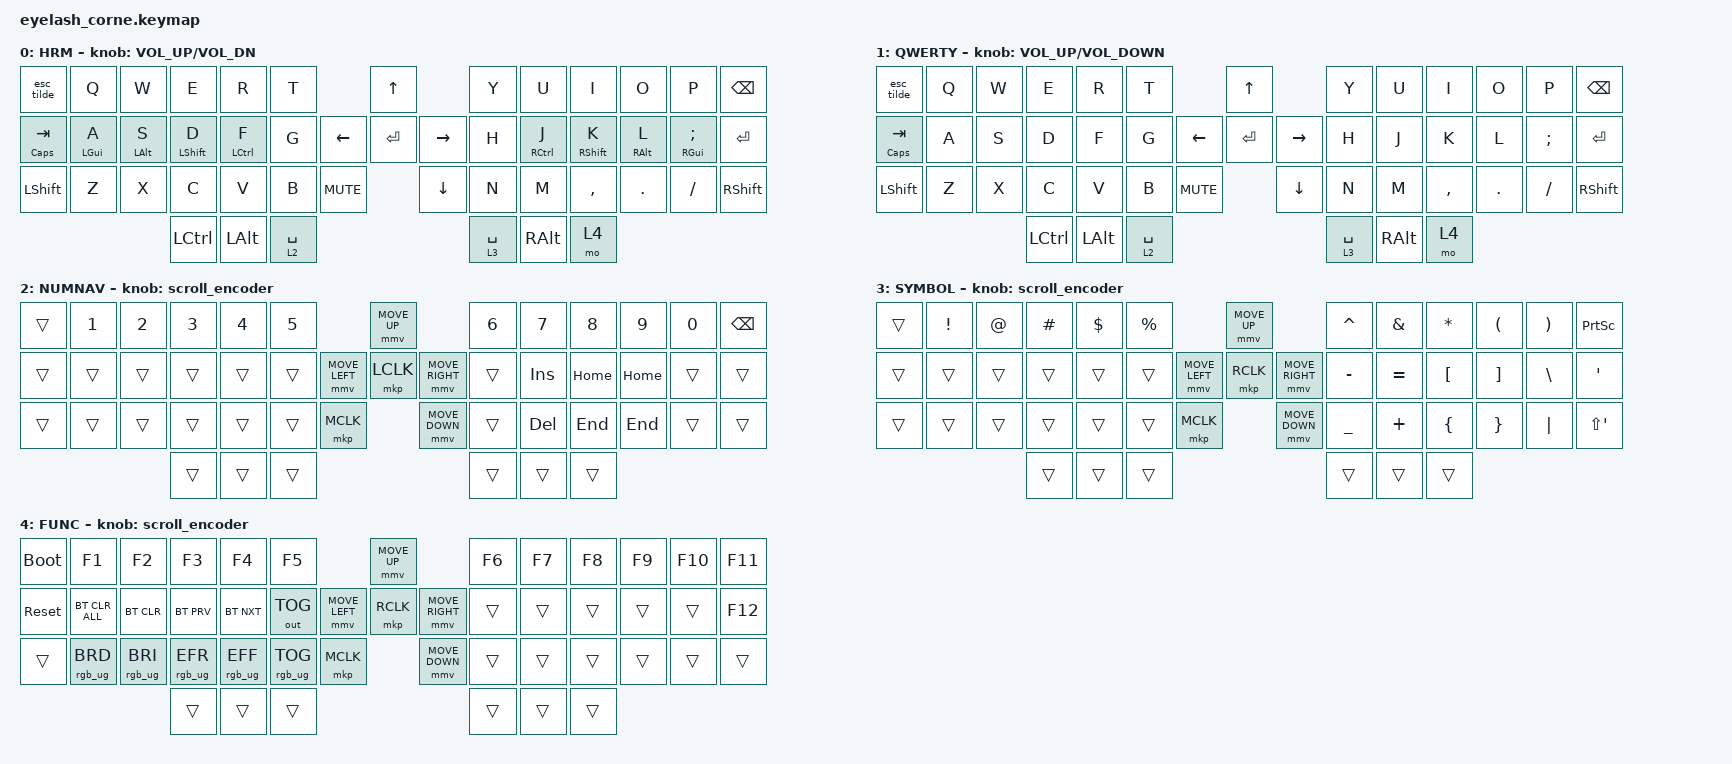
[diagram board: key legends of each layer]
#define ZMK_POINTING_DEFAULT_MOVE_VAL 1200  // 600
#define ZMK_POINTING_DEFAULT_SCRL_VAL 25   // 10

#include "eyelash42.h"
#include <input/processors.dtsi>
#include <zephyr/dt-bindings/input/input-event-codes.h>
#include <behaviors.dtsi>
#include <dt-bindings/zmk/bt.h>
#include <dt-bindings/zmk/keys.h>
#include <dt-bindings/zmk/outputs.h>
#include <dt-bindings/zmk/pointing.h>
#include <dt-bindings/zmk/rgb.h>

&mmv_input_listener { input-processors = <&zip_xy_scaler 2 1>; };

&msc_input_listener { input-processors = <&zip_scroll_scaler 2 1>; };

&msc {
    acceleration-exponent = <1>;      // 0
    time-to-max-speed-ms = <100>;       // 300
    delay-ms = <0>;                   // 0
};

&mmv {
    time-to-max-speed-ms = <500>;
    acceleration-exponent = <1>;
    trigger-period-ms = <16>;
};

&soft_off { hold-time-ms = <2000>; };

/ {
    behaviors {
        td0: td0 {
            compatible = "zmk,behavior-tap-dance";
            display-name = "Shift/Caps Lock Tap Dance";
            #binding-cells = <0>;
            bindings = <&kp LEFT_SHIFT>, <&kp CAPS>;
        };

        hml: hml {
            compatible = "zmk,behavior-hold-tap";
            #binding-cells = <2>;
            flavor = "balanced";
            require-prior-idle-ms = <150>;
            tapping-term-ms = <280>;
            quick-tap-ms = <175>;
            bindings = <&kp>, <&kp>;

            hold-trigger-key-positions = <KEYS_R THUMBS>;
            hold-trigger-on-release;
        };

        hmr: hmr {
            compatible = "zmk,behavior-hold-tap";
            #binding-cells = <2>;
            flavor = "balanced";
            require-prior-idle-ms = <150>;
            tapping-term-ms = <280>;
            quick-tap-ms = <175>;
            bindings = <&kp>, <&kp>;

            hold-trigger-key-positions = <KEYS_L THUMBS>;
            hold-trigger-on-release;
        };

        esc_tilde: esc_tilde {
            compatible = "zmk,behavior-mod-morph";
            #binding-cells = <0>;
            bindings = <&kp ESC>, <&kp TILDE>;

            mods = <(MOD_LSFT|MOD_RSFT)>;
        };
    };

    rgb_encoder: rgb_encoder {
        compatible = "zmk,behavior-sensor-rotate";
        #sensor-binding-cells = <0>;
        bindings = <&rgb_ug RGB_BRI>, <&rgb_ug RGB_BRD>;
    };

    scroll_encoder: scroll_encoder {
        compatible = "zmk,behavior-sensor-rotate";
        #sensor-binding-cells = <0>;
        bindings = <&msc SCRL_DOWN>, <&msc SCRL_UP>;

        tap-ms = <100>;
    };

    combos {
        compatible = "zmk,combos";

        softoff {
            bindings = <&soft_off>;
            key-positions = <1 15 29>;
        };

        combo_qwerty_toggle {
            timeout-ms = <60>;
            key-positions = <44 45>;
            layers = <0 1>;
            bindings = <&tog 1>;
        };
    };

    keymap {
        compatible = "zmk,keymap";

        default_layer {
            display-name = "HRM";
            bindings = <
&esc_tilde        &kp Q        &kp W        &kp E             &kp R         &kp T                                &kp UP                &kp Y        &kp U          &kp I         &kp O        &kp P           &kp BSPC
&mt CAPSLOCK TAB  &hml LGUI A  &hml LALT S  &hml LSHFT D      &hml LCTRL F  &kp G                      &kp LEFT  &kp ENTER  &kp RIGHT  &kp H        &hmr RCTRL J   &hmr RSHFT K  &hmr RALT L  &hmr RGUI SEMI  &kp ENTER
&kp LEFT_SHIFT    &kp Z        &kp X        &kp C             &kp V         &kp B        &kp K_MUTE              &kp DOWN              &kp N        &kp M          &kp COMMA     &kp DOT      &kp FSLH        &kp RIGHT_SHIFT
                                            &kp LEFT_CONTROL  &kp LEFT_ALT  &lt 2 SPACE                                                &lt 3 SPACE  &kp RIGHT_ALT  &mo 4
            >;

            sensor-bindings = <&inc_dec_kp C_VOLUME_UP C_VOL_DN>;
        };

        layer_1 {
            display-name = "QWERTY";
            bindings = <
&esc_tilde        &kp Q  &kp W  &kp E      &kp R     &kp T                                &kp UP               &kp Y        &kp U     &kp I      &kp O    &kp P     &kp BSPC
&mt CAPSLOCK TAB  &kp A  &kp S  &kp D      &kp F     &kp G                      &kp LEFT  &kp RET   &kp RIGHT  &kp H        &kp J     &kp K      &kp L    &kp SEMI  &kp RET
&kp LSHFT         &kp Z  &kp X  &kp C      &kp V     &kp B        &kp K_MUTE              &kp DOWN             &kp N        &kp M     &kp COMMA  &kp DOT  &kp FSLH  &kp RSHFT
                                &kp LCTRL  &kp LALT  &lt 2 SPACE                                               &lt 3 SPACE  &kp RALT  &mo 4
            >;

            sensor-bindings = <&inc_dec_kp C_VOLUME_UP C_VOLUME_DOWN>;
        };

        layer_2 {
            display-name = "NUMNAV";
            bindings = <
&trans  &kp N1  &kp N2  &kp N3  &kp N4  &kp N5                               &mmv MOVE_UP                     &kp N6  &kp N7      &kp N8    &kp N9    &kp N0  &kp BACKSPACE
&trans  &trans  &trans  &trans  &trans  &trans               &mmv MOVE_LEFT  &mkp LCLK       &mmv MOVE_RIGHT  &trans  &kp INSERT  &kp HOME  &kp HOME  &trans  &trans
&trans  &trans  &trans  &trans  &trans  &trans  &mkp MCLK                    &mmv MOVE_DOWN                   &trans  &kp DELETE  &kp END   &kp END   &trans  &trans
                        &trans  &trans  &trans                                                                &trans  &trans      &trans
            >;

            sensor-bindings = <&scroll_encoder>;
        };

        layer_3 {
            display-name = "SYMBOL";
            bindings = <
&trans  &kp EXCL  &kp AT  &kp HASH  &kp DLLR  &kp PRCNT                               &mmv MOVE_UP                     &kp CARET  &kp AMPS   &kp ASTRK  &kp LPAR  &kp RPAR  &kp PRINTSCREEN
&trans  &trans    &trans  &trans    &trans    &trans                  &mmv MOVE_LEFT  &mkp RCLK       &mmv MOVE_RIGHT  &kp MINUS  &kp EQUAL  &kp LBKT   &kp RBKT  &kp BSLH  &kp SQT
&trans  &trans    &trans  &trans    &trans    &trans     &mkp MCLK                    &mmv MOVE_DOWN                   &kp UNDER  &kp PLUS   &kp LBRC   &kp RBRC  &kp PIPE  &kp LS(SINGLE_QUOTE)
                          &trans    &trans    &trans                                                                   &trans     &trans     &trans
            >;

            sensor-bindings = <&scroll_encoder>;
        };

        layer_4 {
            display-name = "FUNC";
            bindings = <
&bootloader  &kp F1           &kp F2           &kp F3           &kp F4           &kp F5                                        &mmv MOVE_UP                     &kp F6  &kp F7  &kp F8  &kp F9  &kp F10  &kp F11
&sys_reset   &bt BT_CLR_ALL   &bt BT_CLR       &bt BT_PRV       &bt BT_NXT       &out OUT_TOG                  &mmv MOVE_LEFT  &mkp RCLK       &mmv MOVE_RIGHT  &trans  &trans  &trans  &trans  &trans   &kp F12
&trans       &rgb_ug RGB_BRD  &rgb_ug RGB_BRI  &rgb_ug RGB_EFR  &rgb_ug RGB_EFF  &rgb_ug RGB_TOG  &mkp MCLK                    &mmv MOVE_DOWN                   &trans  &trans  &trans  &trans  &trans   &trans
                                               &trans           &trans           &trans                                                                         &trans  &trans  &trans
            >;

            sensor-bindings = <&scroll_encoder>;
        };
    };
};
